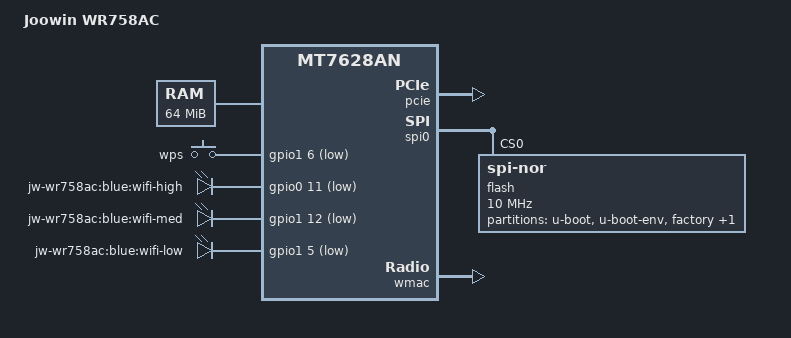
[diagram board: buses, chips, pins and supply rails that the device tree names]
/dts-v1/;
#include <dt-bindings/input/input.h>
#include <dt-bindings/gpio/gpio.h>

#include "mt7628an.dtsi"

/ {
	compatible = "joowin,jw-wr758ac", "mediatek,mt7628an-soc";
	model = "Joowin WR758AC";

	chosen {
		bootargs = "console=ttyS0,57600";
	};

	memory@0 {
		device_type = "memory";
		reg = <0x0 0x4000000>;
	};

	keys {
		compatible = "gpio-keys-polled";
		poll-interval = <20>;

		wps {
			label = "wps";
			gpios = <&gpio1 6 GPIO_ACTIVE_LOW>;
			linux,code = <KEY_WPS_BUTTON>;
		};
	};

	leds {
		compatible = "gpio-leds";

		wifi-high {
			label = "jw-wr758ac:blue:wifi-high";
			gpios = <&gpio0 11 GPIO_ACTIVE_LOW>;
		};

		wifi-med {
			label = "jw-wr758ac:blue:wifi-med";
			gpios = <&gpio1 12 GPIO_ACTIVE_LOW>;
		};

		wifi-low {
			label = "jw-wr758ac:blue:wifi-low";
			gpios = <&gpio1 5 GPIO_ACTIVE_LOW>;
		};
	};
};

&pinctrl {
	state_default: pinctrl0 {
		gpio {
			ralink,group = "i2c", "wled_an", "gpio", "refclk", "wdt", "p0led_an";
			ralink,function = "gpio";
		};
	};
};

&pcie {
	status = "okay";
};

&pcie0 {
	mt76@0,0 {
		reg = <0x0000 0 0 0 0>;
		mediatek,mtd-eeprom = <&factory 0x8000>;
		ieee80211-freq-limit = <5000000 6000000>;
	};
};

&spi0 {
	status = "okay";

	flash@0 {
		compatible = "jedec,spi-nor";
		reg = <0>;
		spi-max-frequency = <10000000>;

		partitions {
			compatible = "fixed-partitions";
			#address-cells = <1>;
			#size-cells = <1>;

			partition@0 {
				label = "u-boot";
				reg = <0x0 0x30000>;
				read-only;
			};

			partition@30000 {
				label = "u-boot-env";
				reg = <0x30000 0x10000>;
				read-only;
			};

			factory: partition@40000 {
				label = "factory";
				reg = <0x40000 0x10000>;
				read-only;
			};

			partition@50000 {
				compatible = "denx,uimage";
				label = "firmware";
				reg = <0x50000 0x760000>;
			};
		};
	};
};

&wmac {
	status = "okay";
};

&ethernet {
	mtd-mac-address = <&factory 0x28>;
};

&esw {
	mediatek,portmap = <0x2f>;
};
